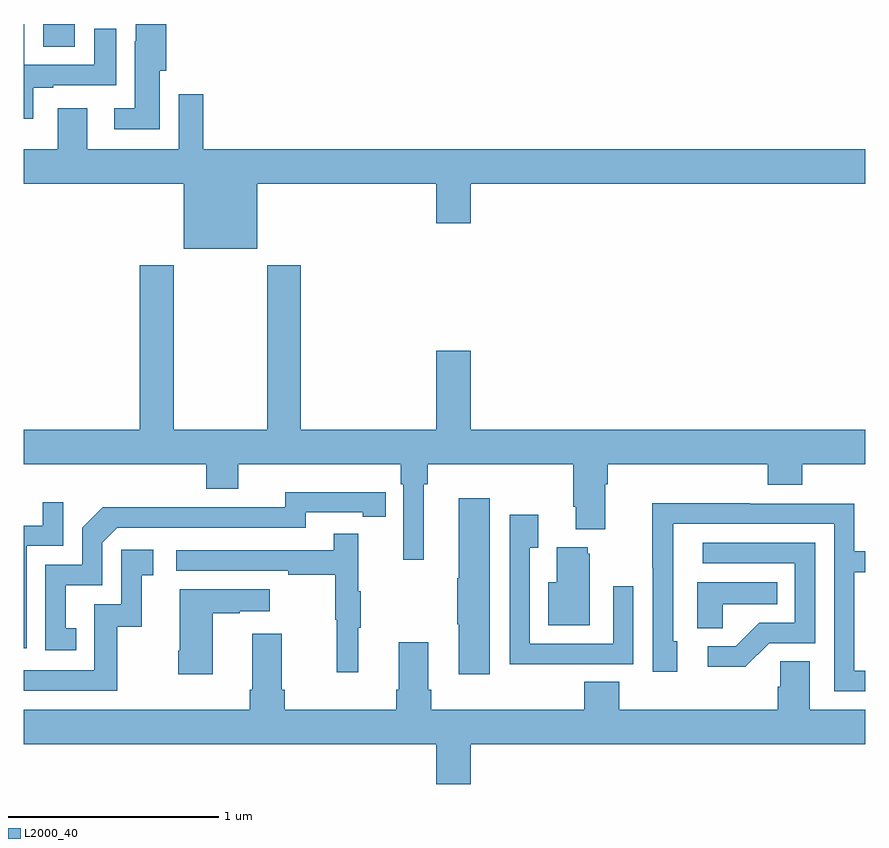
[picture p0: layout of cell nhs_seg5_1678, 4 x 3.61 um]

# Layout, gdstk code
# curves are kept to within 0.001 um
import gdstk
lib = gdstk.Library(unit=1e-6, precision=1e-09)
def R(c, l, rs):  # rectangles x0, y0, x1, y1
    for r in rs: c.add(gdstk.rectangle(r[:2], r[2:], *l))
def P(c, l, *ps):  # polygons
    for p in ps: c.add(gdstk.Polygon(p, *l))
L2000_40 = (2000, 40)

nhs_seg5_1678 = lib.new_cell('nhs_seg5_1678')
R(nhs_seg5_1678, L2000_40, [(211.094,910.69,211.243,910.799)])
P(nhs_seg5_1678, L2000_40, [(211.045,910.497),(211.141,910.497),(211.141,910.509),(211.441,910.509),(211.441,910.777),(211.337,910.777),(211.337,910.605),(211.003,910.605),(211.003,910.799),(211,910.799),(211,910.35),(211.045,910.35)],
  [(211.648,910.578),(211.679,910.578),(211.679,910.799),(211.533,910.799),(211.533,910.718),(211.529,910.718),(211.529,910.399),(211.431,910.399),(211.431,910.298),(211.648,910.298)],
  [(212.11,910.04),(212.96,910.04),(212.96,909.852),(213.124,909.852),(213.124,910.04),(215,910.04),(215,910.204),(211.853,910.204),(211.853,910.465),(211.737,910.465),(211.737,910.204),(211.303,910.204),(211.303,910.399),(211.163,910.399),(211.163,910.204),(211,910.204),(211,910.04),(211.76,910.04),(211.76,909.731),(212.11,909.731)],
  [(213.124,909.247),(212.96,909.247),(212.96,908.872),(212.318,908.872),(212.318,909.652),(212.158,909.652),(212.158,908.872),(211.713,908.872),(211.713,909.652),(211.553,909.652),(211.553,908.872),(211,908.872),(211,908.708),(211.868,908.708),(211.868,908.591),(212.02,908.591),(212.02,908.708),(212.792,908.708),(212.792,908.612),(212.805,908.612),(212.805,908.253),(212.902,908.253),(212.902,908.612),(212.921,908.612),(212.921,908.708),(213.611,908.708),(213.611,908.506),(213.623,908.506),(213.623,908.399),(213.763,908.399),(213.763,908.612),(213.776,908.612),(213.776,908.708),(214.535,908.708),(214.535,908.609),(214.7,908.609),(214.7,908.708),(215,908.708),(215,908.872),(213.124,908.872)],
  [(211.25,907.929),(211.201,907.929),(211.201,908.133),(211.374,908.133),(211.374,908.334),(211.446,908.406),(212.34,908.406),(212.34,908.478),(212.612,908.478),(212.612,908.458),(212.72,908.458),(212.72,908.574),(212.244,908.575),(212.244,908.502),(211.784,908.502),(211.784,908.504),(211.376,908.504),(211.278,908.406),(211.278,908.229),(211.104,908.229),(211.104,907.824),(211.25,907.824)],
  [(213.214,908.545),(213.068,908.545),(213.068,908.165),(213.061,908.165),(213.061,907.948),(213.068,907.948),(213.068,907.71),(213.214,907.71)],
  [(211.014,908.319),(211.188,908.319),(211.188,908.527),(211.091,908.527),(211.091,908.415),(211,908.415),(211,907.833),(211.014,907.833)],
  [(215,907.725),(214.947,907.725),(214.947,908.194),(215,908.194),(215,908.295),(214.947,908.295),(214.947,908.52),(214.451,908.52),(214.451,908.522),(213.988,908.522),(213.988,908.215),(213.99,908.215),(213.99,907.722),(214.105,907.722),(214.105,907.866),(214.086,907.866),(214.086,908.424),(214.851,908.424),(214.851,907.629),(215,907.629)],
  [(213.581,907.758),(213.897,907.758),(213.897,908.128),(213.801,908.128),(213.801,907.854),(213.405,907.854),(213.405,908.311),(213.445,908.311),(213.445,908.467),(213.309,908.467),(213.309,907.757),(213.581,907.757)],
  [(212.591,907.931),(212.602,907.931),(212.602,908.105),(212.591,908.105),(212.591,908.377),(212.473,908.377),(212.473,908.298),(211.725,908.298),(211.725,908.202),(212.257,908.202),(212.257,908.182),(212.481,908.182),(212.481,907.968),(212.488,907.968),(212.488,907.719),(212.591,907.719)],
  [(214.542,907.857),(214.761,907.857),(214.761,908.334),(214.227,908.334),(214.227,908.238),(214.665,908.238),(214.665,907.953),(214.496,907.953),(214.385,907.842),(214.251,907.842),(214.251,907.745),(214.429,907.745)],
  [(213.691,908.283),(213.68,908.283),(213.68,908.314),(213.533,908.314),(213.533,908.146),(213.494,908.146),(213.494,907.943),(213.691,907.943)],
  [(211.444,907.935),(211.562,907.935),(211.562,908.181),(211.615,908.181),(211.615,908.302),(211.464,908.302),(211.464,908.043),(211.335,908.043),(211.335,907.728),(211,907.728),(211,907.632),(211.444,907.632)],
  [(214.323,908.042),(214.58,908.042),(214.58,908.146),(214.202,908.146),(214.202,907.927),(214.323,907.927)],
  [(211.9,907.999),(212.027,907.999),(212.027,908.009),(212.17,908.009),(212.17,908.113),(211.742,908.113),(211.742,907.822),(211.735,907.822),(211.735,907.71),(211.9,907.71)],
  [(213.124,907.376),(215,907.376),(215,907.54),(214.735,907.54),(214.735,907.772),(214.596,907.772),(214.596,907.649),(214.583,907.649),(214.583,907.54),(213.83,907.54),(213.83,907.673),(213.665,907.673),(213.665,907.54),(212.936,907.54),(212.936,907.636),(212.923,907.636),(212.923,907.861),(212.783,907.861),(212.783,907.636),(212.771,907.636),(212.771,907.54),(212.24,907.54),(212.24,907.636),(212.227,907.636),(212.227,907.903),(212.087,907.903),(212.087,907.636),(212.075,907.636),(212.075,907.54),(211,907.54),(211,907.376),(212.96,907.376),(212.96,907.188),(213.124,907.188)])

lib.write_gds('nhs_seg5_1678.gds')
